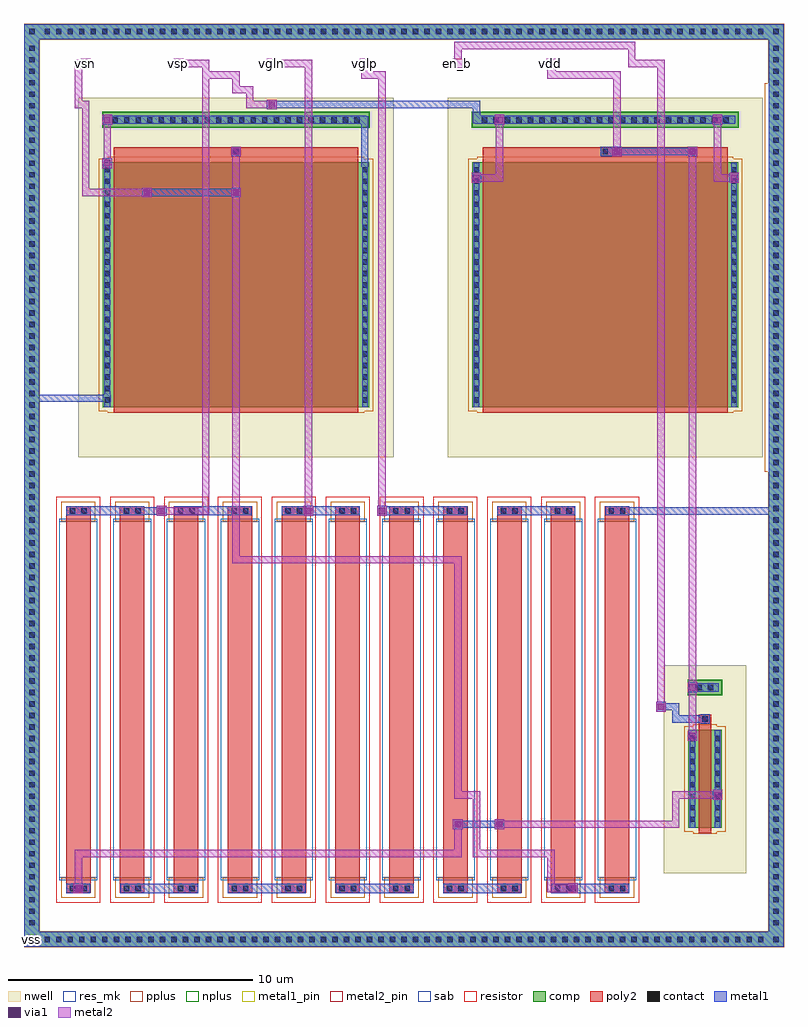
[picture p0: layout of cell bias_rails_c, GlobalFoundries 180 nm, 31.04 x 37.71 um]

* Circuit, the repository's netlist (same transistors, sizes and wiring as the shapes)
* NGSPICE file created from bias_rails_c.ext - technology: gf180mcuD

.subckt r_w1_l14p555 a_n100_1456# a_n100_n1578# VSUBS
X0 a_n100_1456# a_n100_n1578# VSUBS ppolyf_u_1k r_width=1u r_length=14.56u
.ends

.subckt p_w4_l0p5 a_n138_n400# a_50_n400# a_n50_n444# w_n224_n530#
X0 a_50_n400# a_n50_n444# a_n138_n400# w_n224_n530# pfet_03v3 ad=1.76p pd=8.88u as=1.76p ps=8.88u w=4u l=0.5u
.ends

.subckt p_w10_l10 w_n1174_n1130# a_n1000_n1044# a_1000_n1000# a_n1088_n1000#
X0 a_1000_n1000# a_n1000_n1044# a_n1088_n1000# w_n1174_n1130# pfet_03v3 ad=4.4p pd=20.88u as=4.4p ps=20.88u w=10u l=10u
.ends

.subckt bias_rails_c vsn vsp vgln vglp en_b vdd vss
XR0 vsp m1_342_438# vss r_w1_l14p555
XR1 vsp m1_782_438# vss r_w1_l14p555
XR2 m1_1222_3522# m1_782_438# vss r_w1_l14p555
XR3 m1_1222_3522# m1_1662_438# vss r_w1_l14p555
XR4 vgln m1_1662_438# vss r_w1_l14p555
XHDR vdd m1_342_438# en_b vdd p_w4_l0p5
XR5 vgln m1_2542_438# vss r_w1_l14p555
XR6 vglp m1_2542_438# vss r_w1_l14p555
XR7 vglp m1_3422_438# vss r_w1_l14p555
XR9 m1_3862_3522# vsn vss r_w1_l14p555
XR8 m1_3862_3522# m1_3422_438# vss r_w1_l14p555
XR10 vss vsn vss r_w1_l14p555
XC2 vsp vdd vsp vsp p_w10_l10
XC1 vss vsn vss vss p_w10_l10
.ends

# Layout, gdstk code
import gdstk
lib = gdstk.Library(unit=1e-6, precision=1e-09)
def R(c, l, rs):  # rectangles x0, y0, x1, y1
    for r in rs: c.add(gdstk.rectangle(r[:2], r[2:], *l))
def A(c, l, x, y, w, h, nx, ny, dx, dy):  # array of equal rectangles
    R(c, l, [(x+i*dx, y+j*dy, x+i*dx+w, y+j*dy+h) for i in range(nx) for j in range(ny)])
nwell = (21, 0)
comp = (22, 0)
poly2 = (30, 0)
pplus = (31, 0)
nplus = (32, 0)
contact = (33, 0)
metal1 = (34, 0)
metal1_pin = (34, 10)
via1 = (35, 0)
metal2 = (36, 0)
metal2_pin = (36, 10)
sab = (49, 0)
resistor = (62, 0)
res_mk = (110, 5)

r_w1_l14p555 = lib.new_cell('r_w1_l14p555')
R(r_w1_l14p555, poly2, [(-0.5,-7.89,0.5,7.89)])
R(r_w1_l14p555, pplus, [(-0.7,-8.09,0.7,-7.28), (-0.7,7.28,0.7,8.09)])
R(r_w1_l14p555, contact, [(-0.345,-7.82,-0.125,-7.6), (0.125,-7.82,0.345,-7.6), (-0.345,7.6,-0.125,7.82), (0.125,7.6,0.345,7.82)])
R(r_w1_l14p555, metal1, [(-0.49,-7.825,0.49,-7.595), (-0.49,7.595,0.49,7.825)])
R(r_w1_l14p555, sab, [(-0.78,-7.38,0.78,7.38), (-0.78,-7.28,0.78,7.28)])
R(r_w1_l14p555, resistor, [(-0.9,-8.29,0.9,8.29)])
R(r_w1_l14p555, res_mk, [(-0.78,-7.28,0.78,7.28), (-0.5,-7.28,0.5,7.28)])

p_w10_l10 = lib.new_cell('p_w10_l10')
R(p_w10_l10, nwell, [(-5.87,-5.65,5.87,5.65)])
R(p_w10_l10, comp, [(-5.44,-5,5.44,5)])
R(p_w10_l10, poly2, [(-5,-5.22,5,5.22)])
R(p_w10_l10, pplus, [(-5.23,-5.23,5.23,-5.16), (-5.6,-5.16,5.6,5.16), (-5.23,5.16,5.23,5.23)])
A(p_w10_l10, contact, -5.37, -4.81, 0.22, 0.22, 1, 21, 0, 0.47)
A(p_w10_l10, contact, 5.15, -4.81, 0.22, 0.22, 1, 21, 0, 0.47)
R(p_w10_l10, metal1, [(-5.375,-4.99,-5.145,4.99), (5.145,-4.99,5.375,4.99)])

p_w4_l0p5 = lib.new_cell('p_w4_l0p5')
R(p_w4_l0p5, nwell, [(-1.12,-2.65,1.12,2.65)])
R(p_w4_l0p5, comp, [(-0.69,-2,0.69,2)])
R(p_w4_l0p5, poly2, [(-0.25,-2.22,0.25,2.22)])
R(p_w4_l0p5, pplus, [(-0.48,-2.23,0.48,-2.16), (-0.85,-2.16,0.85,2.16), (-0.48,2.16,0.48,2.23)])
A(p_w4_l0p5, contact, -0.62, -1.755, 0.22, 0.22, 1, 8, 0, 0.47)
A(p_w4_l0p5, contact, 0.4, -1.755, 0.22, 0.22, 1, 8, 0, 0.47)
R(p_w4_l0p5, metal1, [(-0.625,-1.99,-0.395,1.99), (0.395,-1.99,0.625,1.99)])

bias_rails_c = lib.new_cell('bias_rails_c')
R(bias_rails_c, nwell, [(26.1,3,29.48,11.49), (2.2,19.98,15.08,34.67), (17.28,19.98,30.16,34.67)])
R(bias_rails_c, comp, [(0,0,31,0.6), (0,0.6,0.6,37.07), (30.4,0.6,31,37.07), (27.1,10.29,28.48,10.89), (3.2,33.47,14.08,34.07), (18.28,33.47,29.16,34.07), (0,37.07,31,37.67)])
R(bias_rails_c, poly2, [(27.54,8.85,28.04,9.48), (3.64,32.03,13.64,32.66), (18.72,32.03,28.72,32.66)])
R(bias_rails_c, pplus, [(-0.02,-0.02,31.02,0.62), (-0.02,0.62,0.62,37.05), (30.38,0.62,31.02,19.39), (30.24,19.39,31.02,35.26), (30.38,35.26,31.02,37.05), (-0.02,37.05,31.02,37.69)])
R(bias_rails_c, nplus, [(27.08,10.27,28.5,10.91), (3.18,33.45,14.1,34.09), (18.26,33.45,29.18,34.09)])
A(bias_rails_c, contact, 0.82, 0.19, 0.22, 0.22, 63, 2, 0.47, 37.07)
A(bias_rails_c, contact, 0.19, 0.865, 0.22, 0.22, 1, 77, 0, 0.47)
A(bias_rails_c, contact, 30.59, 0.865, 0.22, 0.22, 1, 77, 0, 0.47)
A(bias_rails_c, contact, 3.595, 33.66, 0.22, 0.22, 22, 1, 0.47, 0)
A(bias_rails_c, contact, 18.675, 33.66, 0.22, 0.22, 22, 1, 0.47, 0)
R(bias_rails_c, contact, [(0.19,0.19,0.41,0.41), (30.59,0.19,30.81,0.41), (27.68,9.19,27.9,9.41), (27.445,10.48,27.665,10.7), (27.915,10.48,28.135,10.7), (8.53,32.37,8.75,32.59), (23.61,32.37,23.83,32.59), (0.19,37.26,0.41,37.48), (30.59,37.26,30.81,37.48)])
A(bias_rails_c, metal1, 3.91, 2.19, 3.18, 0.38, 5, 1, 4.4, 0)
R(bias_rails_c, metal1, [(0,0,31,0.6), (0,0.6,0.6,22.25), (30.4,0.6,31,17.65), (2,2.18,2.4,2.19), (22.2,2.18,22.6,2.19), (1.71,2.19,2.69,2.57), (2,2.57,2.4,2.58), (22.2,2.57,22.6,2.58), (17.5,4.8,17.9,4.85), (19.2,4.8,19.6,4.85), (17.5,4.85,19.6,5.15), (17.5,5.15,17.9,5.2), (19.2,5.15,19.6,5.2), (28.1,6,28.5,6.4), (27.08,8.4,27.48,8.8), (27.6,9.11,27.98,9.15), (26.45,9.15,27.98,9.45), (26.45,9.45,26.75,9.65), (27.6,9.45,27.98,9.49), (25.8,9.6,26.2,9.65), (25.8,9.65,26.75,9.95), (25.8,9.95,26.2,10), (27.08,10.39,27.48,10.42), (27.08,10.42,28.35,10.76), (27.08,10.76,27.48,10.79), (5.4,17.6,5.8,17.65), (11.4,17.6,11.8,17.61), (14.4,17.6,14.8,17.61), (1.71,17.61,4.89,17.65), (6.11,17.61,9.29,17.99), (10.51,17.61,13.69,17.99), (14.4,17.61,18.09,17.99), (19.31,17.61,22.49,17.99), (23.71,17.61,24.69,17.65), (1.71,17.65,5.8,17.95), (23.71,17.65,31,17.95), (1.71,17.95,4.89,17.99), (5.4,17.95,5.8,18), (23.71,17.95,24.69,17.99), (30.4,17.95,31,37.07), (11.4,17.99,11.8,18), (14.4,17.99,14.8,18), (0,22.25,3.53,22.55), (0,22.55,0.6,37.07), (4.8,30.6,5.2,30.65), (8.44,30.6,8.84,30.65), (4.8,30.65,8.84,30.95), (4.8,30.95,5.2,31), (8.44,30.95,8.84,31), (18.26,31.2,18.66,31.6), (28.78,31.2,29.18,31.6), (3.18,31.8,3.58,32.2), (13.75,31.85,14.05,33.6), (8.44,32.28,8.84,32.68), (24,32.28,24.4,32.29), (27.08,32.28,27.48,32.33), (23.53,32.29,24.4,32.33), (23.53,32.33,27.48,32.63), (23.53,32.63,24.4,32.67), (27.08,32.63,27.48,32.68), (24,32.67,24.4,32.68), (3.18,33.57,3.58,33.6), (19.2,33.57,19.6,33.6), (28.1,33.57,28.5,33.6), (3.18,33.6,14.05,33.92), (18.41,33.6,29.03,33.62), (18.31,33.62,29.03,33.94), (3.18,33.92,13.95,33.94), (3.18,33.94,3.58,33.97), (18.31,33.94,18.61,34.25), (19.2,33.94,19.6,33.97), (28.1,33.94,28.5,33.97), (9.9,34.2,10.3,34.25), (9.9,34.25,18.61,34.55), (9.9,34.55,10.3,34.6), (0,37.07,31,37.67)])
R(bias_rails_c, metal1_pin, [(0.1,0.1,0.5,0.5)])
R(bias_rails_c, via1, [(2.07,2.25,2.33,2.51), (22.27,2.25,22.53,2.51), (17.57,4.87,17.83,5.13), (19.27,4.87,19.53,5.13), (28.17,6.07,28.43,6.33), (27.15,8.47,27.41,8.73), (25.87,9.67,26.13,9.93), (27.15,10.46,27.41,10.72), (5.47,17.67,5.73,17.93), (11.47,17.67,11.73,17.93), (14.47,17.67,14.73,17.93), (4.87,30.67,5.13,30.93), (8.51,30.67,8.77,30.93), (18.33,31.27,18.59,31.53), (28.85,31.27,29.11,31.53), (3.25,31.87,3.51,32.13), (8.51,32.35,8.77,32.61), (24.07,32.35,24.33,32.61), (27.15,32.35,27.41,32.61), (3.25,33.64,3.51,33.9), (19.27,33.64,19.53,33.9), (28.17,33.64,28.43,33.9), (9.97,34.27,10.23,34.53)])
A(bias_rails_c, metal2, 13.7, 35.87, 0.4, 0.4, 3, 1, 3.8, 0)
A(bias_rails_c, metal2, 2.3, 36.22, 0.4, 0.05, 3, 1, 3.8, 0)
R(bias_rails_c, metal2, [(2,2.18,2.4,2.58), (22.2,2.18,22.6,2.23), (21.35,2.23,22.6,2.53), (21.35,2.53,21.65,3.65), (22.2,2.53,22.6,2.58), (2.05,2.58,2.35,3.65), (2.05,3.65,17.85,3.95), (18.31,3.65,21.65,3.95), (17.55,3.95,17.85,4.8), (18.31,3.95,18.61,6.05), (17.5,4.8,17.9,5.2), (19.2,4.8,19.6,4.85), (19.2,4.85,26.75,5.15), (19.2,5.15,19.6,5.2), (26.45,5.15,26.75,6.05), (28.1,6,28.5,6.05), (17.55,6.05,18.61,6.35), (26.45,6.05,28.5,6.35), (17.55,6.35,17.85,15.65), (28.1,6.35,28.5,6.4), (27.08,8.4,27.48,8.8), (27.13,8.8,27.43,10.39), (25.8,9.6,26.2,10), (25.85,10,26.15,35.92), (27.08,10.39,27.48,10.79), (27.13,10.79,27.43,32.28), (8.49,15.65,17.85,15.95), (8.49,15.95,8.79,30.6), (5.4,17.6,5.8,17.65), (11.4,17.6,11.8,18), (14.4,17.6,14.8,18), (5.4,17.65,7.55,17.95), (5.4,17.95,5.8,18), (7.25,17.95,7.55,35.45), (11.45,18,11.75,35.92), (14.45,18,14.75,35.45), (4.8,30.6,5.2,30.65), (8.44,30.6,8.84,31), (2.35,30.65,5.2,30.95), (2.35,30.95,2.65,34.25), (4.8,30.95,5.2,31), (8.49,31,8.79,32.28), (18.26,31.2,18.66,31.25), (28.78,31.2,29.18,31.25), (18.26,31.25,19.55,31.55), (28.15,31.25,29.18,31.55), (18.26,31.55,18.66,31.6), (19.25,31.55,19.55,33.57), (28.15,31.55,28.45,33.57), (28.78,31.55,29.18,31.6), (3.18,31.8,3.58,32.2), (3.23,32.2,3.53,33.57), (8.44,32.28,8.84,32.68), (24,32.28,24.4,32.68), (27.08,32.28,27.48,32.68), (24.05,32.68,24.35,35.45), (3.18,33.57,3.58,33.97), (19.2,33.57,19.6,33.97), (28.1,33.57,28.5,33.97), (9.9,34.2,10.3,34.25), (2.05,34.25,2.65,34.55), (9.05,34.25,10.3,34.55), (2.05,34.55,2.35,35.87), (9.05,34.55,9.35,34.85), (9.9,34.55,10.3,34.6), (8.49,34.85,9.35,35.15), (8.49,35.15,8.79,35.45), (7.25,35.45,8.79,35.75), (13.75,35.45,14.75,35.75), (21.35,35.45,24.35,35.75), (7.25,35.75,7.55,35.92), (13.75,35.75,14.1,35.87), (21.35,35.75,21.7,35.87), (2.05,35.87,2.7,36.22), (6.1,35.87,6.5,35.92), (9.9,35.87,10.3,35.92), (6.1,35.92,7.55,36.22), (9.9,35.92,11.75,36.22), (24.65,35.92,26.15,36.22), (24.65,36.22,24.95,36.65), (17.55,36.27,17.85,36.65), (17.55,36.65,24.95,36.95)])
A(bias_rails_c, metal2_pin, 2.3, 35.87, 0.4, 0.4, 6, 1, 3.8, 0)
bias_rails_c.add(gdstk.Reference(r_w1_l14p555, (2.2,10.09)))
bias_rails_c.add(gdstk.Reference(r_w1_l14p555, (4.4,10.09)))
bias_rails_c.add(gdstk.Reference(r_w1_l14p555, (6.6,10.09)))
bias_rails_c.add(gdstk.Reference(r_w1_l14p555, (8.8,10.09)))
bias_rails_c.add(gdstk.Reference(r_w1_l14p555, (11,10.09)))
bias_rails_c.add(gdstk.Reference(r_w1_l14p555, (13.2,10.09)))
bias_rails_c.add(gdstk.Reference(p_w10_l10, (8.64,27.03)))
bias_rails_c.add(gdstk.Reference(r_w1_l14p555, (15.4,10.09)))
bias_rails_c.add(gdstk.Reference(r_w1_l14p555, (17.6,10.09)))
bias_rails_c.add(gdstk.Reference(r_w1_l14p555, (19.8,10.09)))
bias_rails_c.add(gdstk.Reference(r_w1_l14p555, (22,10.09)))
bias_rails_c.add(gdstk.Reference(r_w1_l14p555, (24.2,10.09)))
bias_rails_c.add(gdstk.Reference(p_w10_l10, (23.72,27.03)))
bias_rails_c.add(gdstk.Reference(p_w4_l0p5, (27.79,6.85)))
bias_rails_c.add(gdstk.Label('vsn', (2.5,36.07), layer=36, texttype=10))
bias_rails_c.add(gdstk.Label('vsp', (6.3,36.07), layer=36, texttype=10))
bias_rails_c.add(gdstk.Label('vgln', (10.1,36.07), layer=36, texttype=10))
bias_rails_c.add(gdstk.Label('vglp', (13.9,36.07), layer=36, texttype=10))
bias_rails_c.add(gdstk.Label('en_b', (17.7,36.07), layer=36, texttype=10))
bias_rails_c.add(gdstk.Label('vdd', (21.5,36.07), layer=36, texttype=10))
bias_rails_c.add(gdstk.Label('vss', (0.3,0.3), layer=34, texttype=10))

lib.write_gds('bias_rails_c.gds')
